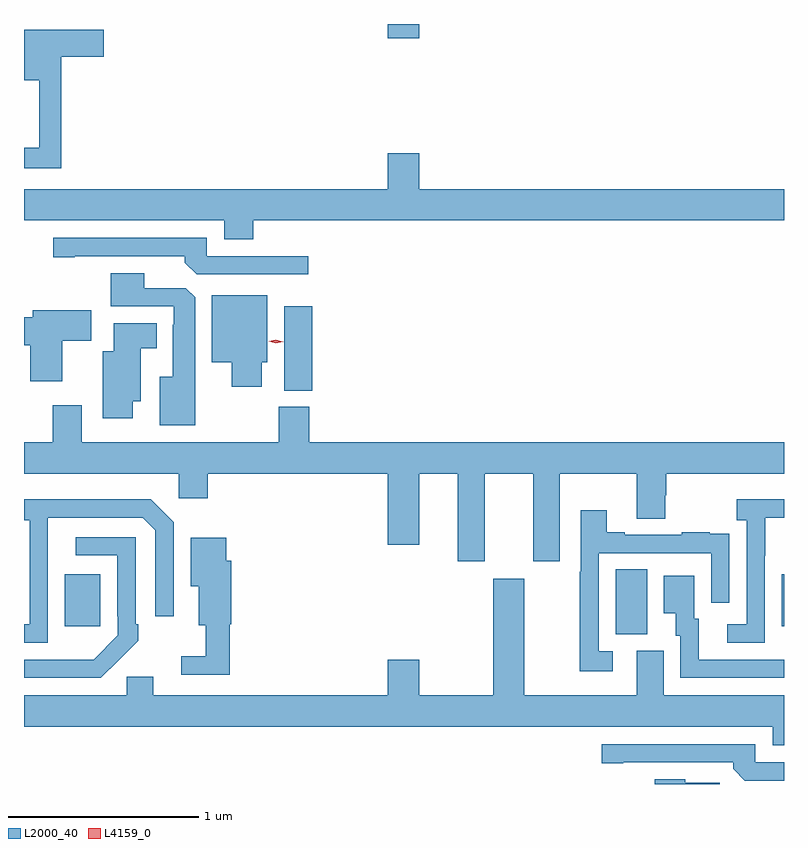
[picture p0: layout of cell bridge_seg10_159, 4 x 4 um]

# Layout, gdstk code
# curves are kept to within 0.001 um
import gdstk
lib = gdstk.Library(unit=1e-6, precision=1e-09)
def R(c, l, rs):  # rectangles x0, y0, x1, y1
    for r in rs: c.add(gdstk.rectangle(r[:2], r[2:], *l))
def P(c, l, *ps):  # polygons
    for p in ps: c.add(gdstk.Polygon(p, *l))
L2000_40 = (2000, 40)
L4159_0 = (4159, 0)

bridge_seg10_159 = lib.new_cell('bridge_seg10_159')
R(bridge_seg10_159, L2000_40, [(250.124,1256.845,250.288,1257.188), (247.223,1256.889,247.411,1257.163), (250.997,1256.889,251.009,1257.163), (248.378,1258.129,248.525,1258.573), (248.924,1259.982,249.088,1260.058)])
P(bridge_seg10_159, L2000_40, [(247.205,1259.885),(247.429,1259.885),(247.429,1260.027),(247.009,1260.027),(247.009,1259.762),(247.088,1259.762),(247.088,1259.407),(247.009,1259.407),(247.009,1259.298),(247.205,1259.298)],
  [(248.216,1259.024),(251.009,1259.024),(251.009,1259.188),(249.088,1259.188),(249.088,1259.377),(248.924,1259.377),(248.924,1259.188),(247.009,1259.188),(247.009,1259.024),(248.063,1259.024),(248.063,1258.925),(248.216,1258.925)],
  [(248.506,1258.836),(247.971,1258.836),(247.971,1258.932),(247.164,1258.932),(247.164,1258.831),(247.276,1258.831),(247.276,1258.836),(247.856,1258.836),(247.856,1258.802),(247.917,1258.74),(248.506,1258.74)],
  [(247.909,1258.619),(247.86,1258.668),(247.642,1258.668),(247.642,1258.747),(247.466,1258.747),(247.466,1258.572),(247.797,1258.572),(247.797,1258.475),(247.793,1258.475),(247.793,1258.201),(247.724,1258.201),(247.724,1257.947),(247.909,1257.947)],
  [(248.26,1258.277),(248.29,1258.277),(248.29,1258.63),(247.997,1258.63),(247.997,1258.277),(248.102,1258.277),(248.102,1258.149),(248.26,1258.149)],
  [(247.21,1258.39),(247.363,1258.39),(247.363,1258.552),(247.055,1258.552),(247.055,1258.514),(247.009,1258.514),(247.009,1258.367),(247.043,1258.367),(247.043,1258.179),(247.21,1258.179)],
  [(247.582,1258.073),(247.624,1258.073),(247.624,1258.352),(247.708,1258.352),(247.708,1258.483),(247.481,1258.483),(247.481,1258.336),(247.424,1258.336),(247.424,1257.984),(247.582,1257.984)],
  [(249.433,1257.692),(249.689,1257.692),(249.689,1257.231),(249.829,1257.231),(249.829,1257.692),(250.235,1257.692),(250.235,1257.454),(250.383,1257.454),(250.383,1257.579),(250.388,1257.579),(250.388,1257.692),(251.009,1257.692),(251.009,1257.856),(248.51,1257.856),(248.51,1258.044),(248.35,1258.044),(248.35,1257.856),(247.312,1257.856),(247.312,1258.051),(247.16,1258.051),(247.16,1257.856),(247.009,1257.856),(247.009,1257.692),(247.824,1257.692),(247.824,1257.561),(247.976,1257.561),(247.976,1257.692),(248.924,1257.692),(248.924,1257.318),(249.088,1257.318),(249.088,1257.692),(249.293,1257.692),(249.293,1257.231),(249.433,1257.231)],
  [(247.134,1257.259),(247.135,1257.459),(247.635,1257.459),(247.701,1257.393),(247.701,1256.94),(247.797,1256.94),(247.797,1257.435),(247.676,1257.556),(247.009,1257.556),(247.009,1257.446),(247.038,1257.446),(247.038,1256.898),(247.009,1256.898),(247.009,1256.802),(247.134,1256.802)],
  [(250.908,1257.259),(250.909,1257.259),(250.909,1257.459),(251.009,1257.459),(251.009,1257.556),(250.761,1257.556),(250.761,1257.446),(250.812,1257.446),(250.812,1256.898),(250.71,1256.898),(250.71,1256.802),(250.908,1256.802)],
  [(250.108,1256.757),(250.035,1256.757),(250.035,1257.273),(250.626,1257.273),(250.626,1257.012),(250.722,1257.012),(250.722,1257.266),(250.721,1257.266),(250.721,1257.375),(250.619,1257.375),(250.619,1257.382),(250.471,1257.382),(250.471,1257.369),(250.171,1257.369),(250.171,1257.382),(250.075,1257.382),(250.075,1257.499),(249.939,1257.499),(249.939,1257.176),(249.934,1257.176),(249.934,1256.652),(250.108,1256.652)],
  [(247.505,1256.707),(247.506,1256.706),(247.611,1256.811),(247.611,1256.899),(247.596,1256.899),(247.596,1257.357),(247.281,1257.357),(247.281,1257.261),(247.5,1257.261),(247.5,1256.941),(247.503,1256.941),(247.503,1256.841),(247.375,1256.713),(247.009,1256.712),(247.009,1256.616),(247.414,1256.616)],
  [(248.093,1256.898),(248.099,1256.898),(248.099,1257.234),(248.074,1257.234),(248.074,1257.355),(247.886,1257.355),(247.886,1257.098),(247.928,1257.098),(247.928,1256.894),(247.965,1256.894),(247.965,1256.731),(247.836,1256.731),(247.836,1256.634),(248.093,1256.634)],
  [(251.009,1256.712),(250.561,1256.712),(250.561,1256.928),(250.537,1256.928),(250.537,1257.154),(250.376,1257.154),(250.376,1256.957),(250.439,1256.957),(250.439,1256.838),(250.464,1256.838),(250.464,1256.616),(251.009,1256.616)],
  [(251.009,1256.524),(250.375,1256.524),(250.375,1256.76),(250.235,1256.76),(250.235,1256.524),(249.643,1256.524),(249.643,1257.139),(249.479,1257.139),(249.479,1256.524),(249.088,1256.524),(249.088,1256.713),(248.924,1256.713),(248.924,1256.524),(247.69,1256.524),(247.69,1256.622),(247.551,1256.622),(247.551,1256.524),(247.009,1256.524),(247.009,1256.36),(250.949,1256.36),(250.949,1256.261),(251.009,1256.261)],
  [(251.009,1256.172),(250.857,1256.172),(250.857,1256.268),(250.05,1256.268),(250.05,1256.167),(250.162,1256.167),(250.162,1256.172),(250.742,1256.172),(250.742,1256.138),(250.803,1256.076),(251.009,1256.076)],
  [(250.672,1256.065),(250.488,1256.065),(250.488,1256.083),(250.328,1256.083),(250.328,1256.058),(250.672,1256.058)])
P(bridge_seg10_159, L4159_0, [(248.335,1258.377),(248.297,1258.387),(248.297,1258.387),(248.297,1258.387),(248.335,1258.396),(248.373,1258.386),(248.373,1258.386),(248.373,1258.386)])

lib.write_gds('bridge_seg10_159.gds')
